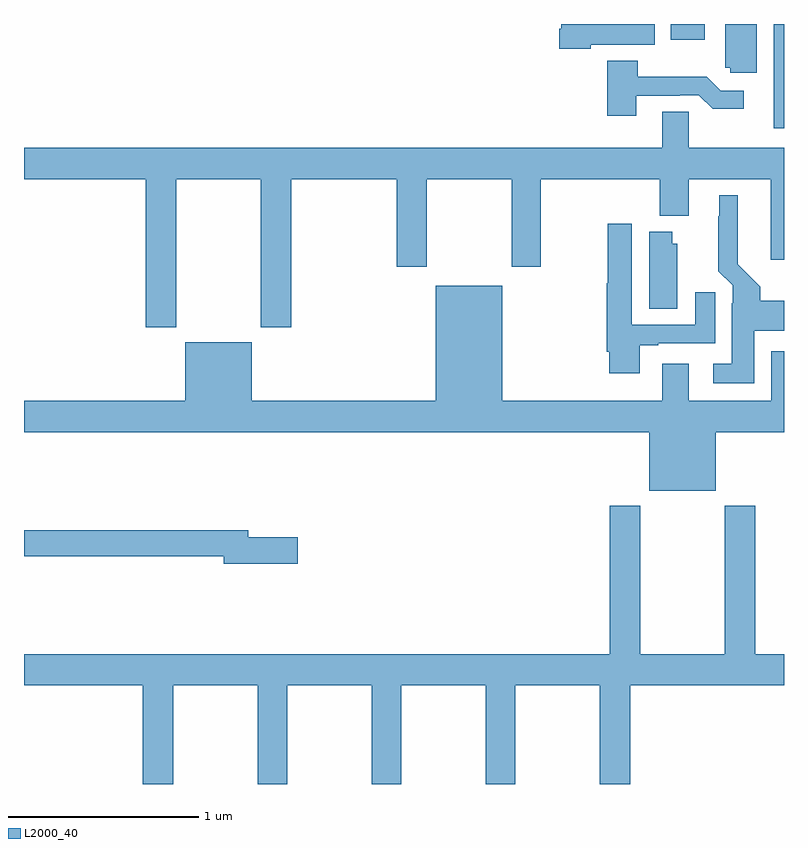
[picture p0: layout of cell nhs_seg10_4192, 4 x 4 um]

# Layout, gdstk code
import gdstk
lib = gdstk.Library(unit=1e-6, precision=1e-09)
def R(c, l, rs):  # rectangles x0, y0, x1, y1
    for r in rs: c.add(gdstk.rectangle(r[:2], r[2:], *l))
def P(c, l, *ps):  # polygons
    for p in ps: c.add(gdstk.Polygon(p, *l))
L2000_40 = (2000, 40)

nhs_seg10_4192 = lib.new_cell('nhs_seg10_4192')
R(nhs_seg10_4192, L2000_40, [(348.945,1265.952,349,1266.5), (348.405,1266.416,348.583,1266.5)])
P(nhs_seg10_4192, L2000_40, [(348.856,1266.5),(348.692,1266.5),(348.692,1266.27),(348.717,1266.27),(348.717,1266.243),(348.856,1266.243)],
  [(347.982,1266.392),(348.32,1266.392),(348.32,1266.5),(347.828,1266.5),(347.828,1266.475),(347.816,1266.475),(347.816,1266.371),(347.982,1266.371)],
  [(348.223,1266.123),(348.452,1266.123),(348.452,1266.126),(348.552,1266.126),(348.625,1266.053),(348.787,1266.053),(348.787,1266.15),(348.666,1266.15),(348.593,1266.223),(348.231,1266.223),(348.231,1266.307),(348.071,1266.307),(348.071,1266.018),(348.223,1266.018)],
  [(345.801,1265.684),(346.246,1265.684),(346.246,1264.905),(346.406,1264.905),(346.406,1265.684),(346.961,1265.684),(346.961,1265.223),(347.121,1265.223),(347.121,1265.684),(347.566,1265.684),(347.566,1265.223),(347.721,1265.223),(347.721,1265.684),(348.347,1265.684),(348.347,1265.492),(348.499,1265.492),(348.499,1265.684),(348.929,1265.684),(348.929,1265.259),(349,1265.259),(349,1265.848),(348.498,1265.848),(348.498,1266.038),(348.359,1266.038),(348.359,1265.848),(345,1265.848),(345,1265.684),(345.641,1265.684),(345.641,1264.905),(345.801,1264.905)],
  [(348.844,1264.886),(349,1264.886),(349,1265.044),(348.875,1265.044),(348.875,1265.118),(348.757,1265.236),(348.757,1265.599),(348.659,1265.599),(348.659,1265.489),(348.655,1265.489),(348.655,1265.198),(348.729,1265.124),(348.729,1265.03),(348.725,1265.03),(348.725,1264.711),(348.627,1264.711),(348.627,1264.61),(348.844,1264.61)],
  [(348.241,1264.809),(348.337,1264.809),(348.337,1264.821),(348.637,1264.821),(348.637,1265.089),(348.533,1265.089),(348.533,1264.917),(348.199,1264.917),(348.199,1265.449),(348.073,1265.449),(348.073,1265.136),(348.068,1265.136),(348.068,1264.774),(348.08,1264.774),(348.08,1264.662),(348.241,1264.662)],
  [(348.439,1265.343),(348.412,1265.343),(348.412,1265.407),(348.29,1265.407),(348.29,1265.002),(348.439,1265.002)],
  [(348.64,1264.352),(349,1264.352),(349,1264.777),(348.933,1264.777),(348.933,1264.516),(348.499,1264.516),(348.499,1264.711),(348.359,1264.711),(348.359,1264.516),(347.518,1264.516),(347.518,1265.122),(347.168,1265.122),(347.168,1264.516),(346.198,1264.516),(346.198,1264.825),(345.848,1264.825),(345.848,1264.516),(345,1264.516),(345,1264.352),(348.29,1264.352),(348.29,1264.043),(348.64,1264.043)],
  [(345.786,1263.02),(346.231,1263.02),(346.231,1262.5),(346.386,1262.5),(346.386,1263.02),(346.831,1263.02),(346.831,1262.5),(346.986,1262.5),(346.986,1263.02),(347.431,1263.02),(347.431,1262.5),(347.586,1262.5),(347.586,1263.02),(348.031,1263.02),(348.031,1262.5),(348.191,1262.5),(348.191,1263.02),(349,1263.02),(349,1263.184),(348.848,1263.184),(348.848,1263.964),(348.688,1263.964),(348.688,1263.184),(348.243,1263.184),(348.243,1263.964),(348.083,1263.964),(348.083,1263.184),(345,1263.184),(345,1263.02),(345.626,1263.02),(345.626,1262.5),(345.786,1262.5)],
  [(346.441,1263.8),(346.18,1263.8),(346.18,1263.836),(345,1263.836),(345,1263.7),(346.052,1263.7),(346.052,1263.658),(346.441,1263.658)])

lib.write_gds('nhs_seg10_4192.gds')
